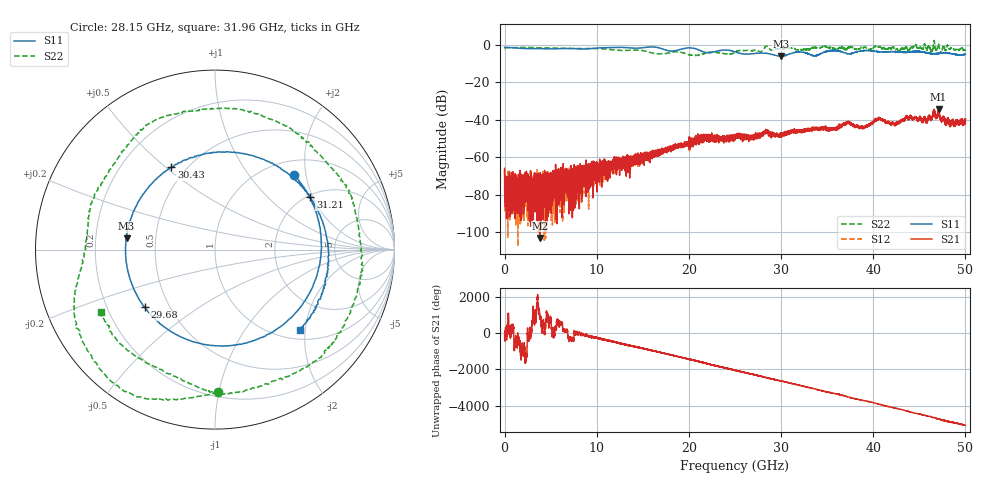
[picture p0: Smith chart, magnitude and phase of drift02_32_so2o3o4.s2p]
!Created with skrf (http://scikit-rf.org).
# Hz S RI R 50.0
!freq ReS11 ImS11 ReS21 ImS21 ReS12 ImS12 ReS22 ImS22
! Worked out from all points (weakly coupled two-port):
!   10001 points, 300 kHz to 50 GHz, reference 50 ohm
!   highest |S21| = -34.42 dB at 47.09 GHz (marker M1); lowest = -103.1 dB at 3.865 GHz (marker M2)
!   lowest |S11| = -6.1 dB at 30.02 GHz (marker M3), VSWR 2.97, Z = 16.9 + j2.85 ohm
!   |S11| at or under -10 dB: nowhere
!   |S22| runs from -5.7 to 2.4 dB; largest |S21 - S12| = 0.0033
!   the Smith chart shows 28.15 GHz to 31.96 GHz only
!   S11 on the Smith chart (normalised r, x): 28.15 GHz: 1.30, +1.71; 29.68 GHz: 0.36, -0.31; 30.43 GHz: 0.42, +0.52; 31.21 GHz: 2.07, +1.91; 31.96 GHz: 1.20, -1.87
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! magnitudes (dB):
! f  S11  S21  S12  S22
! 300 kHz  -1.3  -66.0  -66.2  -2.1
! 255.3 MHz  -1.4  -76.4  -82.1  -1.4
! 425.3 MHz  -1.4  -71.4  -80.0  -1.4
! 3.865 GHz  -2.0  -103.1  -73.5  -1.5
! 8.335 GHz  -2.2  -78.7  -75.2  -1.9
! 16.67 GHz  -1.5  -58.4  -58.5  -4.7
! 21.68 GHz  -3.9  -50.3  -49.6  -4.6
! 25 GHz  -3.7  -50.1  -49.1  -3.9
! 28.15 GHz  -4.4  -47.4  -47.6  -2.0
! 29.68 GHz  -5.9  -47.9  -48.2  -2.1
! 30.02 GHz  -6.1  -49.4  -47.9  -2.0
! 30.43 GHz  -5.7  -48.1  -47.0  -1.8
! 31.21 GHz  -4.4  -45.5  -46.5  -1.7
! 31.96 GHz  -3.7  -45.9  -46.3  -2.8
! 33.34 GHz  -5.5  -44.0  -44.6  -1.6
! 37.26 GHz  -4.7  -41.1  -42.1  -1.7
! 38.89 GHz  -3.1  -44.1  -44.3  -1.5
! 40.57 GHz  -3.6  -39.1  -39.5  -1.0
! 41.67 GHz  -3.6  -41.1  -41.2  -1.8
! 47.09 GHz  -4.5  -34.4  -34.6  0.5
! 48.54 GHz  -4.7  -40.5  -40.9  -1.7
! 50 GHz  -4.9  -39.4  -40.6  -2.7
